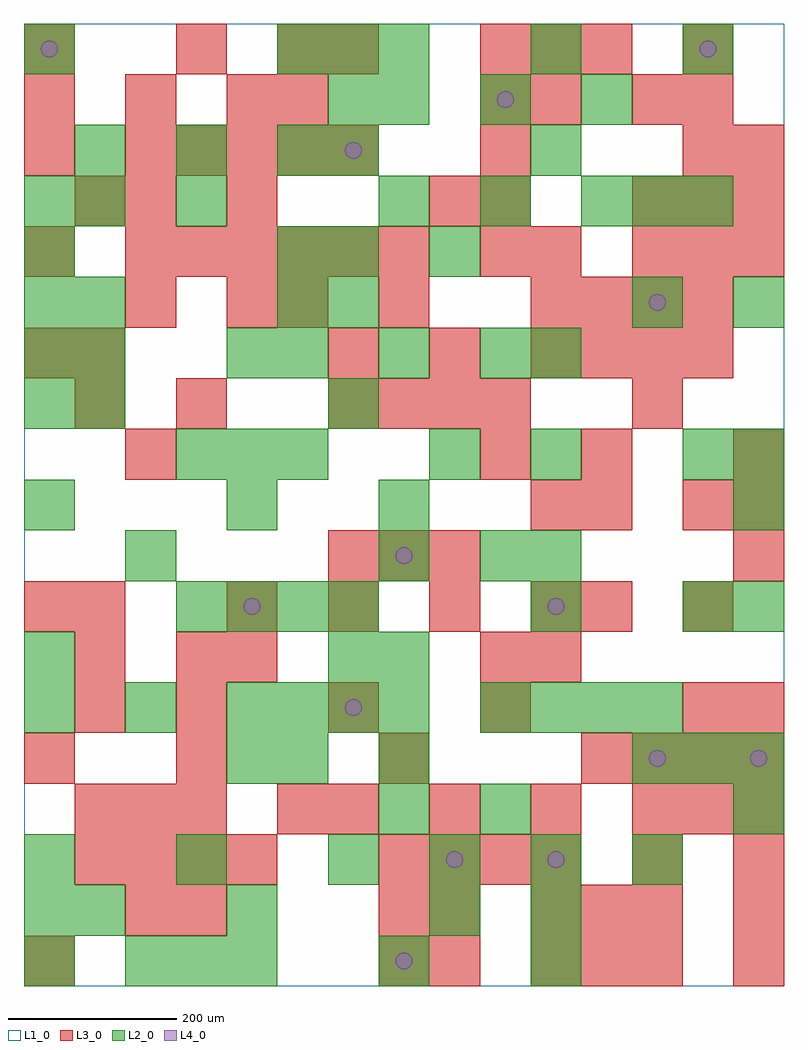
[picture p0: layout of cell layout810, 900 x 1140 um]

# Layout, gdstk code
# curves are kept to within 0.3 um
import gdstk
lib = gdstk.Library(unit=1e-6, precision=1e-09)
def R(c, l, rs):  # rectangles x0, y0, x1, y1
    for r in rs: c.add(gdstk.rectangle(r[:2], r[2:], *l))
def A(c, l, x, y, w, h, nx, ny, dx, dy):  # array of equal rectangles
    R(c, l, [(x+i*dx, y+j*dy, x+i*dx+w, y+j*dy+h) for i in range(nx) for j in range(ny)])
def P(c, l, *ps):  # polygons
    for p in ps: c.add(gdstk.Polygon(p, *l))
L1_0 = (1, 0)
L2_0 = (2, 0)
L3_0 = (3, 0)
L4_0 = (4, 0)

layout810 = lib.new_cell('layout810')
R(layout810, L1_0, [(0,0,900,1140)])
A(layout810, L2_0, 120, 0, 60, 60, 3, 1, 60, 0)
A(layout810, L2_0, 0, 120, 60, 60, 3, 1, 180, 0)
A(layout810, L2_0, 480, 120, 60, 60, 3, 1, 120, 0)
A(layout810, L2_0, 420, 240, 60, 60, 1, 3, 0, 120)
A(layout810, L2_0, 720, 240, 60, 60, 3, 1, 60, 0)
A(layout810, L2_0, 0, 300, 60, 60, 3, 1, 120, 0)
A(layout810, L2_0, 300, 300, 60, 60, 3, 2, 60, 780)
A(layout810, L2_0, 540, 300, 60, 60, 4, 1, 60, 0)
A(layout810, L2_0, 180, 420, 60, 60, 4, 1, 60, 0)
A(layout810, L2_0, 600, 480, 60, 60, 1, 3, 0, 120)
A(layout810, L2_0, 180, 600, 60, 60, 3, 1, 60, 0)
A(layout810, L2_0, 0, 660, 60, 60, 1, 5, 0, 60)
A(layout810, L2_0, 60, 660, 60, 60, 1, 3, 0, 60)
A(layout810, L2_0, 300, 720, 60, 60, 3, 1, 120, 0)
A(layout810, L2_0, 420, 900, 60, 60, 3, 2, 120, 120)
A(layout810, L2_0, 60, 960, 60, 60, 3, 1, 120, 0)
R(layout810, L2_0, [(0,0,60,60), (420,0,480,60), (600,0,660,60), (0,60,60,120), (60,60,120,120), (240,60,300,120), (480,60,540,120), (600,60,660,120), (420,180,480,240), (540,180,600,240), (840,180,900,240), (240,240,300,300), (300,240,360,300), (0,360,60,420), (360,360,420,420), (600,420,660,480), (780,420,840,480), (840,420,900,480), (120,480,180,540), (540,480,600,540), (0,540,60,600), (240,540,300,600), (420,540,480,600), (840,540,900,600), (480,600,540,660), (780,600,840,660), (840,600,900,660), (360,660,420,720), (240,720,300,780), (300,780,360,840), (360,780,420,840), (720,780,780,840), (840,780,900,840), (300,840,360,900), (360,840,420,900), (480,840,540,900), (60,900,120,960), (180,900,240,960), (720,900,780,960), (780,900,840,960), (360,960,420,1020), (600,960,660,1020), (360,1020,420,1080), (0,1080,60,1140), (600,1080,660,1140), (780,1080,840,1140)])
A(layout810, L3_0, 600, 0, 60, 60, 3, 2, 60, 60)
A(layout810, L3_0, 840, 0, 60, 60, 1, 4, 0, 60)
A(layout810, L3_0, 180, 60, 60, 60, 1, 3, 0, 300)
A(layout810, L3_0, 60, 120, 60, 60, 4, 1, 60, 0)
A(layout810, L3_0, 420, 120, 60, 60, 4, 1, 60, 0)
A(layout810, L3_0, 60, 180, 60, 60, 3, 1, 60, 0)
A(layout810, L3_0, 360, 180, 60, 60, 4, 1, 120, 0)
A(layout810, L3_0, 780, 180, 60, 60, 1, 4, 0, 120)
A(layout810, L3_0, 180, 240, 60, 60, 3, 1, 240, 0)
A(layout810, L3_0, 720, 240, 60, 60, 3, 2, 60, 600)
A(layout810, L3_0, 60, 300, 60, 60, 1, 3, 0, 60)
A(layout810, L3_0, 180, 300, 60, 60, 3, 1, 180, 0)
A(layout810, L3_0, 540, 360, 60, 60, 1, 3, 0, 240)
A(layout810, L3_0, 240, 420, 60, 60, 4, 1, 120, 0)
A(layout810, L3_0, 360, 480, 60, 60, 3, 1, 60, 0)
A(layout810, L3_0, 840, 480, 60, 60, 1, 3, 0, 60)
A(layout810, L3_0, 360, 660, 60, 60, 4, 1, 60, 0)
A(layout810, L3_0, 0, 720, 60, 60, 1, 4, 0, 120)
A(layout810, L3_0, 360, 720, 60, 60, 3, 1, 120, 0)
A(layout810, L3_0, 660, 720, 60, 60, 3, 1, 60, 0)
A(layout810, L3_0, 600, 780, 60, 60, 4, 1, 60, 0)
A(layout810, L3_0, 120, 840, 60, 60, 6, 1, 60, 0)
A(layout810, L3_0, 540, 900, 60, 60, 1, 3, 0, 60)
A(layout810, L3_0, 720, 900, 60, 60, 3, 1, 60, 0)
A(layout810, L3_0, 120, 960, 60, 60, 5, 1, 60, 0)
A(layout810, L3_0, 780, 960, 60, 60, 1, 3, 0, 60)
A(layout810, L3_0, 0, 1020, 60, 60, 3, 1, 120, 0)
A(layout810, L3_0, 540, 1080, 60, 60, 3, 1, 60, 0)
R(layout810, L3_0, [(0,0,60,60), (420,0,480,60), (480,0,540,60), (120,60,180,120), (420,60,480,120), (480,60,540,120), (720,120,780,180), (300,180,360,240), (0,240,60,300), (840,300,900,360), (240,360,300,420), (600,360,660,420), (0,420,60,480), (660,420,720,480), (600,540,660,600), (660,540,720,600), (120,600,180,660), (660,600,720,660), (60,660,120,720), (720,660,780,720), (60,720,120,780), (120,780,180,840), (240,780,300,840), (300,780,360,840), (420,780,480,840), (600,840,660,900), (60,900,120,960), (120,900,180,960), (240,900,300,960), (480,900,540,960), (840,960,900,1020), (300,1020,360,1080), (600,1020,660,1080), (720,1020,780,1080), (180,1080,240,1140), (300,1080,360,1140), (360,1080,420,1140)])
P(layout810, L4_0, [(40,1110),(39.239,1113.827),(37.071,1117.071),(33.827,1119.239),(30,1120),(26.173,1119.239),(22.929,1117.071),(20.761,1113.827),(20,1110),(20.761,1106.173),(22.929,1102.929),(26.173,1100.761),(30,1100),(33.827,1100.761),(37.071,1102.929),(39.239,1106.173)],
  [(280,450),(279.239,453.827),(277.071,457.071),(273.827,459.239),(270,460),(266.173,459.239),(262.929,457.071),(260.761,453.827),(260,450),(260.761,446.173),(262.929,442.929),(266.173,440.761),(270,440),(273.827,440.761),(277.071,442.929),(279.239,446.173)],
  [(400,330),(399.239,333.827),(397.071,337.071),(393.827,339.239),(390,340),(386.173,339.239),(382.929,337.071),(380.761,333.827),(380,330),(380.761,326.173),(382.929,322.929),(386.173,320.761),(390,320),(393.827,320.761),(397.071,322.929),(399.239,326.173)],
  [(400,990),(399.239,993.827),(397.071,997.071),(393.827,999.239),(390,1000),(386.173,999.239),(382.929,997.071),(380.761,993.827),(380,990),(380.761,986.173),(382.929,982.929),(386.173,980.761),(390,980),(393.827,980.761),(397.071,982.929),(399.239,986.173)],
  [(460,30),(459.239,33.827),(457.071,37.071),(453.827,39.239),(450,40),(446.173,39.239),(442.929,37.071),(440.761,33.827),(440,30),(440.761,26.173),(442.929,22.929),(446.173,20.761),(450,20),(453.827,20.761),(457.071,22.929),(459.239,26.173)],
  [(460,510),(459.239,513.827),(457.071,517.071),(453.827,519.239),(450,520),(446.173,519.239),(442.929,517.071),(440.761,513.827),(440,510),(440.761,506.173),(442.929,502.929),(446.173,500.761),(450,500),(453.827,500.761),(457.071,502.929),(459.239,506.173)],
  [(520,150),(519.239,153.827),(517.071,157.071),(513.827,159.239),(510,160),(506.173,159.239),(502.929,157.071),(500.761,153.827),(500,150),(500.761,146.173),(502.929,142.929),(506.173,140.761),(510,140),(513.827,140.761),(517.071,142.929),(519.239,146.173)],
  [(580,1050),(579.239,1053.827),(577.071,1057.071),(573.827,1059.239),(570,1060),(566.173,1059.239),(562.929,1057.071),(560.761,1053.827),(560,1050),(560.761,1046.173),(562.929,1042.929),(566.173,1040.761),(570,1040),(573.827,1040.761),(577.071,1042.929),(579.239,1046.173)],
  [(640,150),(639.239,153.827),(637.071,157.071),(633.827,159.239),(630,160),(626.173,159.239),(622.929,157.071),(620.761,153.827),(620,150),(620.761,146.173),(622.929,142.929),(626.173,140.761),(630,140),(633.827,140.761),(637.071,142.929),(639.239,146.173)],
  [(640,450),(639.239,453.827),(637.071,457.071),(633.827,459.239),(630,460),(626.173,459.239),(622.929,457.071),(620.761,453.827),(620,450),(620.761,446.173),(622.929,442.929),(626.173,440.761),(630,440),(633.827,440.761),(637.071,442.929),(639.239,446.173)],
  [(760,270),(759.239,273.827),(757.071,277.071),(753.827,279.239),(750,280),(746.173,279.239),(742.929,277.071),(740.761,273.827),(740,270),(740.761,266.173),(742.929,262.929),(746.173,260.761),(750,260),(753.827,260.761),(757.071,262.929),(759.239,266.173)],
  [(760,810),(759.239,813.827),(757.071,817.071),(753.827,819.239),(750,820),(746.173,819.239),(742.929,817.071),(740.761,813.827),(740,810),(740.761,806.173),(742.929,802.929),(746.173,800.761),(750,800),(753.827,800.761),(757.071,802.929),(759.239,806.173)],
  [(820,1110),(819.239,1113.827),(817.071,1117.071),(813.827,1119.239),(810,1120),(806.173,1119.239),(802.929,1117.071),(800.761,1113.827),(800,1110),(800.761,1106.173),(802.929,1102.929),(806.173,1100.761),(810,1100),(813.827,1100.761),(817.071,1102.929),(819.239,1106.173)],
  [(880,270),(879.239,273.827),(877.071,277.071),(873.827,279.239),(870,280),(866.173,279.239),(862.929,277.071),(860.761,273.827),(860,270),(860.761,266.173),(862.929,262.929),(866.173,260.761),(870,260),(873.827,260.761),(877.071,262.929),(879.239,266.173)])

lib.write_gds('layout810.gds')
